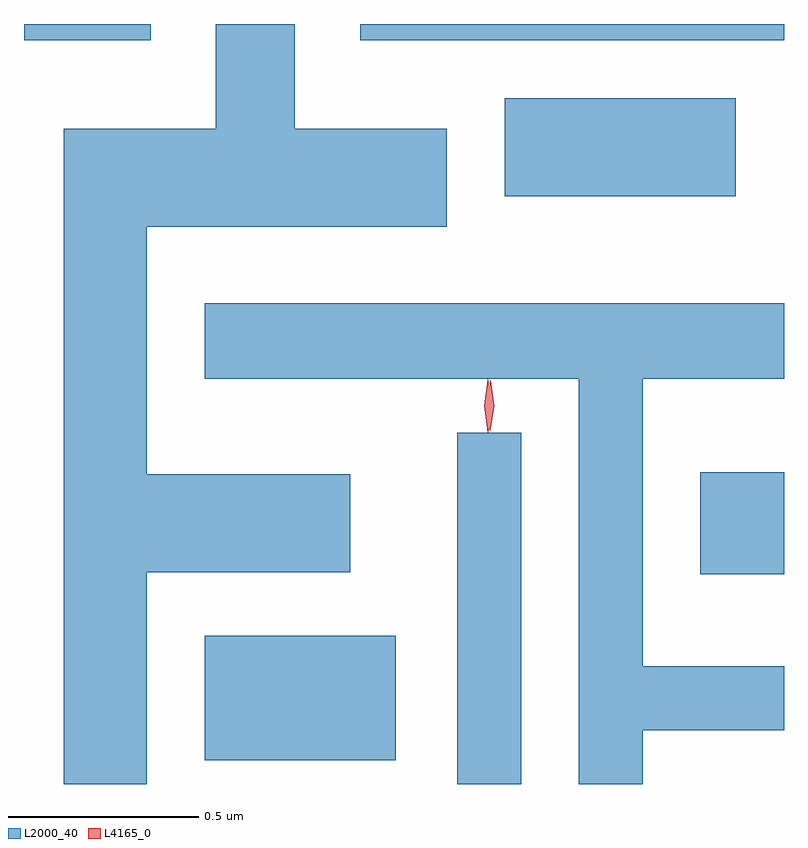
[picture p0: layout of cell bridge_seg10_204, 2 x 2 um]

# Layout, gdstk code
import gdstk
lib = gdstk.Library(unit=1e-6, precision=1e-09)
def R(c, l, rs):  # rectangles x0, y0, x1, y1
    for r in rs: c.add(gdstk.rectangle(r[:2], r[2:], *l))
def P(c, l, *ps):  # polygons
    for p in ps: c.add(gdstk.Polygon(p, *l))
L2000_40 = (2000, 40)
L4165_0 = (4165, 0)

bridge_seg10_204 = lib.new_cell('bridge_seg10_204')
R(bridge_seg10_204, L2000_40, [(1841.111,2141.249,1841.279,2142.173), (1840.446,2141.311,1840.949,2141.639), (1841.751,2141.801,1841.971,2142.069), (1841.236,2142.796,1841.844,2143.054), (1839.971,2143.206,1840.304,2143.249), (1840.856,2143.206,1841.971,2143.249)])
P(bridge_seg10_204, L2000_40, [(1840.294,2141.806),(1840.829,2141.806),(1840.829,2142.064),(1840.294,2142.064),(1840.294,2142.716),(1841.084,2142.716),(1841.084,2142.974),(1840.684,2142.974),(1840.684,2143.249),(1840.476,2143.249),(1840.476,2142.974),(1840.076,2142.974),(1840.076,2141.249),(1840.294,2141.249)],
  [(1841.599,2141.391),(1841.971,2141.391),(1841.971,2141.559),(1841.599,2141.559),(1841.599,2142.316),(1841.971,2142.316),(1841.971,2142.514),(1840.446,2142.514),(1840.446,2142.316),(1841.431,2142.316),(1841.431,2141.249),(1841.599,2141.249)])
P(bridge_seg10_204, L4165_0, [(1841.192,2142.174),(1841.192,2142.175),(1841.182,2142.244),(1841.192,2142.313),(1841.192,2142.314),(1841.193,2142.313),(1841.202,2142.244),(1841.193,2142.175)],
  [(1841.197,2142.178),(1841.188,2142.244),(1841.198,2142.31),(1841.198,2142.311),(1841.199,2142.31),(1841.208,2142.244),(1841.198,2142.178),(1841.198,2142.178)])

lib.write_gds('bridge_seg10_204.gds')
